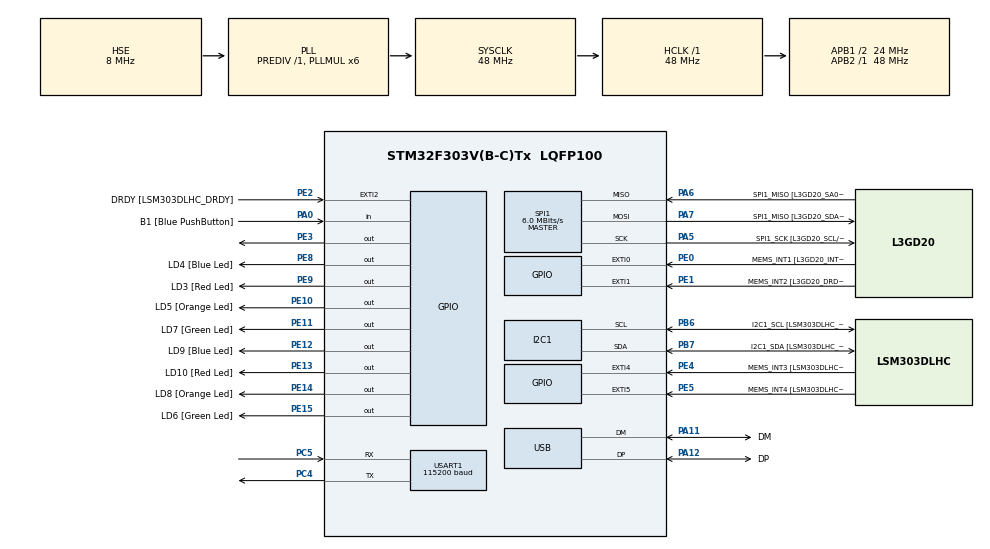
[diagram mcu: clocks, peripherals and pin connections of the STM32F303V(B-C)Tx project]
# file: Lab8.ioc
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I2C1.Timing=0x2000090E
I2C1.Timing-I2C=0x2000090E
Mcu.Family=STM32F3
Mcu.Name=STM32F303V(B-C)Tx
Mcu.Package=LQFP100
NVIC.PriorityGroup=NVIC_PRIORITYGROUP_0
NVIC.SPI1_IRQn=true\:0\:0\:false\:false\:true\:true\:true\:true
NVIC.USB_LP_CAN_RX0_IRQn=true\:0\:0\:false\:false\:true\:false\:true\:true
PA0.GPIO_Label=B1 [Blue PushButton]
PA0.Signal=GPIO_Input
PA11.GPIO_Label=DM
PA11.Mode=Device
PA11.Signal=USB_DM
PA12.GPIO_Label=DP
PA12.Mode=Device
PA12.Signal=USB_DP
PA13.GPIO_Label=SWDIO
PA13.Mode=Serial_Wire
PA13.Signal=SYS_JTMS-SWDIO
PA14.GPIO_Label=SWCLK
PA14.Mode=Serial_Wire
PA14.Signal=SYS_JTCK-SWCLK
PA5.GPIO_Label=SPI1_SCK [L3GD20_SCL/SPC]
PA5.Mode=Full_Duplex_Master
PA5.Signal=SPI1_SCK
PA6.GPIO_Label=SPI1_MISO [L3GD20_SA0/SDO]
PA6.Mode=Full_Duplex_Master
PA6.Signal=SPI1_MISO
PA7.GPIO_Label=SPI1_MISO [L3GD20_SDA/SDI/SDO]
PA7.Mode=Full_Duplex_Master
PA7.Signal=SPI1_MOSI
PB3.GPIO_Label=SWO
PB3.Signal=SYS_JTDO-TRACESWO
PB6.GPIO_Label=I2C1_SCL [LSM303DLHC_SCL]
PB6.GPIO_Pu=GPIO_PULLUP
PB6.Mode=I2C
PB6.Signal=I2C1_SCL
PB7.GPIO_Label=I2C1_SDA [LSM303DLHC_SDA]
PB7.GPIO_Pu=GPIO_PULLUP
PB7.Mode=I2C
PB7.Signal=I2C1_SDA
PC14-OSC32_IN.GPIO_Label=OSC32_IN
PC14-OSC32_IN.Signal=RCC_OSC32_IN
PC15-OSC32_OUT.GPIO_Label=OSC32_OUT
PC15-OSC32_OUT.Signal=RCC_OSC32_OUT
PC4.Mode=Asynchronous
PC4.Signal=USART1_TX
PC5.Mode=Asynchronous
PC5.Signal=USART1_RX
PE0.GPIO_Label=MEMS_INT1 [L3GD20_INT1]
PE0.GPIO_ModeDefaultEXTI=GPIO_MODE_EVT_RISING
PE0.Signal=GPXTI0
PE1.GPIO_Label=MEMS_INT2 [L3GD20_DRDY/INT2]
PE1.GPIO_ModeDefaultEXTI=GPIO_MODE_EVT_RISING
PE1.Signal=GPXTI1
PE10.GPIO_Label=LD5 [Orange Led]
PE10.Signal=GPIO_Output
PE11.GPIO_Label=LD7 [Green Led]
PE11.Signal=GPIO_Output
PE12.GPIO_Label=LD9 [Blue Led]
PE12.Signal=GPIO_Output
PE13.GPIO_Label=LD10 [Red Led]
PE13.Signal=GPIO_Output
PE14.GPIO_Label=LD8 [Orange Led]
PE14.Signal=GPIO_Output
PE15.GPIO_Label=LD6 [Green Led]
PE15.Signal=GPIO_Output
PE2.GPIO_Label=DRDY [LSM303DLHC_DRDY]
PE2.GPIO_ModeDefaultEXTI=GPIO_MODE_EVT_RISING
PE2.Signal=GPXTI2
PE3.Signal=GPIO_Output
PE4.GPIO_Label=MEMS_INT3 [LSM303DLHC_INT1]
PE4.GPIO_ModeDefaultEXTI=GPIO_MODE_EVT_RISING
PE4.Signal=GPXTI4
PE5.GPIO_Label=MEMS_INT4 [LSM303DLHC_INT2]
PE5.GPIO_ModeDefaultEXTI=GPIO_MODE_EVT_RISING
PE5.Signal=GPXTI5
PE8.GPIO_Label=LD4 [Blue Led]
PE8.Signal=GPIO_Output
PE9.GPIO_Label=LD3 [Red Led]
PE9.Signal=GPIO_Output
PF0-OSC_IN.GPIO_Label=OSC_IN
PF0-OSC_IN.Mode=HSE-External-Clock-Source
PF0-OSC_IN.Signal=RCC_OSC_IN
PF1-OSC_OUT.GPIO_Label=OSC_OUT
PF1-OSC_OUT.Signal=RCC_OSC_OUT
ProjectManager.HeapSize=0x200
ProjectManager.StackSize=0x400
ProjectManager.TargetToolchain=CMake
RCC.AHBFreq_Value=48000000
RCC.APB1CLKDivider=RCC_HCLK_DIV2
RCC.APB1Freq_Value=24000000
RCC.APB1TimFreq_Value=48000000
RCC.APB2Freq_Value=48000000
RCC.APB2TimFreq_Value=48000000
RCC.CortexFreq_Value=48000000
RCC.HCLKFreq_Value=48000000
RCC.HSE_VALUE=8000000
RCC.HSI_VALUE=8000000
RCC.LSE_VALUE=32768
RCC.PLLMUL=RCC_PLL_MUL6
RCC.SYSCLKFreq_VALUE=48000000
RCC.SYSCLKSourceVirtual=RCC_SYSCLKSOURCE_PLLCLK
RCC.USBFreq_Value=48000000
SPI1.BaudRatePrescaler=SPI_BAUDRATEPRESCALER_8
SPI1.BaudRatePrescaler-Full_Duplex_Master=SPI_BAUDRATEPRESCALER_2
SPI1.CLKPhase=SPI_PHASE_2EDGE
SPI1.CLKPolarity=SPI_POLARITY_HIGH
SPI1.CalculateBaudRate=6.0 MBits/s
SPI1.CalculateBaudRate-Full_Duplex_Master=24.0 MBits/s
SPI1.DataSize=SPI_DATASIZE_8BIT
SPI1.Direction=SPI_DIRECTION_2LINES
SPI1.Mode=SPI_MODE_MASTER
SPI1.Mode-Full_Duplex_Master=SPI_MODE_MASTER
SPI1.VirtualType=VM_MASTER
USART1.BaudRate=115200
USART1.VirtualMode-Asynchronous=VM_ASYNC
USB_DEVICE.CLASS_NAME_FS=CDC
USB_DEVICE.VirtualMode=Cdc
USB_DEVICE.VirtualModeFS=Cdc_FS
VP_USB_DEVICE_VS_USB_DEVICE_CDC_FS.Mode=CDC_FS
board=STM32F3DISCOVERY

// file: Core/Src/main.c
/* USER CODE BEGIN Header */
/**
  ******************************************************************************
  * @file           : main.c
  * @brief          : Main program body
  ******************************************************************************
  * @attention
  *
  * Copyright (c) 2026 STMicroelectronics.
  * All rights reserved.
  *
  * This software is licensed under terms that can be found in the LICENSE file
  * in the root directory of this software component.
  * If no LICENSE file comes with this software, it is provided AS-IS.
  *
  ******************************************************************************
  */
/* USER CODE END Header */
#include "main.h"
#include "usb_device.h"

/* USER CODE BEGIN Includes */
#include <stdio.h>
#include <stdint.h>
/* USER CODE END Includes */

/* USER CODE BEGIN PD */
#define WHO_AM_I_REG 0x0F

/* USER CODE END PD */

I2C_HandleTypeDef hi2c1;

SPI_HandleTypeDef hspi1;

UART_HandleTypeDef huart1;

void SystemClock_Config(void);
static void MX_GPIO_Init(void);
static void MX_I2C1_Init(void);
static void MX_SPI1_Init(void);
static void MX_USART1_UART_Init(void);

/* USER CODE BEGIN 0 */
// Task 3
uint8_t tx_buf[7];
uint8_t rx_buf[7];

int16_t x_raw, y_raw, z_raw;
float x_dps, y_dps, z_dps;
int8_t temperature;

volatile uint8_t spi_ready = 1;

#define CTRL_REG1 0x20
#define CTRL_REG1_VAL 0x0F

void gyro_init()
{
    uint8_t data[2] = {CTRL_REG1, CTRL_REG1_VAL};

    HAL_GPIO_WritePin(GPIOE, GPIO_PIN_3, GPIO_PIN_RESET);
    HAL_SPI_Transmit(&hspi1, data, 2, HAL_MAX_DELAY);
    HAL_GPIO_WritePin(GPIOE, GPIO_PIN_3, GPIO_PIN_SET);
}

/* USER CODE END 0 */

int main(void)
{

  /* MCU Configuration--------------------------------------------------------*/

  /* Reset of all peripherals, Initializes the Flash interface and the Systick. */
  HAL_Init();

  /* Configure the system clock */
  SystemClock_Config();

  /* Initialize all configured peripherals */
  MX_GPIO_Init();
  MX_I2C1_Init();
  MX_SPI1_Init();
  MX_USB_DEVICE_Init();
  MX_USART1_UART_Init();
  /* USER CODE BEGIN 2 */
  // Task 2
  gyro_init();
  /* USER CODE END 2 */

  /* Infinite loop */
  /* USER CODE BEGIN WHILE */
  while (1)
{
    if (spi_ready)
    {
        spi_ready = 0;

        // Read temperature first (polling)
        uint8_t temp_cmd = 0x80 | 0x26;
        uint8_t temp_rx;

        HAL_GPIO_WritePin(GPIOE, GPIO_PIN_3, GPIO_PIN_RESET);
        HAL_SPI_Transmit(&hspi1, &temp_cmd, 1, HAL_MAX_DELAY);
        HAL_SPI_Receive(&hspi1, &temp_rx, 1, HAL_MAX_DELAY);
        HAL_GPIO_WritePin(GPIOE, GPIO_PIN_3, GPIO_PIN_SET);

        temperature = (int8_t)temp_rx;

        // Now read gyro (interrupt)
        tx_buf[0] = 0xC0 | 0x28;

        HAL_GPIO_WritePin(GPIOE, GPIO_PIN_3, GPIO_PIN_RESET);
        HAL_SPI_TransmitReceive_IT(&hspi1, tx_buf, rx_buf, 7);
    }
}

  /* USER CODE END 3 */
}

void SystemClock_Config(void)
{
  RCC_OscInitTypeDef RCC_OscInitStruct = {0};
  RCC_ClkInitTypeDef RCC_ClkInitStruct = {0};
  RCC_PeriphCLKInitTypeDef PeriphClkInit = {0};

  /** Initializes the RCC Oscillators according to the specified parameters
  * in the RCC_OscInitTypeDef structure.
  */
  RCC_OscInitStruct.OscillatorType = RCC_OSCILLATORTYPE_HSI|RCC_OSCILLATORTYPE_HSE;
  RCC_OscInitStruct.HSEState = RCC_HSE_BYPASS;
  RCC_OscInitStruct.HSEPredivValue = RCC_HSE_PREDIV_DIV1;
  RCC_OscInitStruct.HSIState = RCC_HSI_ON;
  RCC_OscInitStruct.HSICalibrationValue = RCC_HSICALIBRATION_DEFAULT;
  RCC_OscInitStruct.PLL.PLLState = RCC_PLL_ON;
  RCC_OscInitStruct.PLL.PLLSource = RCC_PLLSOURCE_HSE;
  RCC_OscInitStruct.PLL.PLLMUL = RCC_PLL_MUL6;
  if (HAL_RCC_OscConfig(&RCC_OscInitStruct) != HAL_OK)
  {
    Error_Handler();
  }

  /** Initializes the CPU, AHB and APB buses clocks
  */
  RCC_ClkInitStruct.ClockType = RCC_CLOCKTYPE_HCLK|RCC_CLOCKTYPE_SYSCLK
                              |RCC_CLOCKTYPE_PCLK1|RCC_CLOCKTYPE_PCLK2;
  RCC_ClkInitStruct.SYSCLKSource = RCC_SYSCLKSOURCE_PLLCLK;
  RCC_ClkInitStruct.AHBCLKDivider = RCC_SYSCLK_DIV1;
  RCC_ClkInitStruct.APB1CLKDivider = RCC_HCLK_DIV2;
  RCC_ClkInitStruct.APB2CLKDivider = RCC_HCLK_DIV1;

  if (HAL_RCC_ClockConfig(&RCC_ClkInitStruct, FLASH_LATENCY_1) != HAL_OK)
  {
    Error_Handler();
  }
  PeriphClkInit.PeriphClockSelection = RCC_PERIPHCLK_USB|RCC_PERIPHCLK_USART1
                              |RCC_PERIPHCLK_I2C1;
  PeriphClkInit.Usart1ClockSelection = RCC_USART1CLKSOURCE_PCLK2;
  PeriphClkInit.I2c1ClockSelection = RCC_I2C1CLKSOURCE_HSI;
  PeriphClkInit.USBClockSelection = RCC_USBCLKSOURCE_PLL;
  if (HAL_RCCEx_PeriphCLKConfig(&PeriphClkInit) != HAL_OK)
  {
    Error_Handler();
  }
}

static void MX_I2C1_Init(void)
{

  hi2c1.Instance = I2C1;
  hi2c1.Init.Timing = 0x2000090E;
  hi2c1.Init.OwnAddress1 = 0;
  hi2c1.Init.AddressingMode = I2C_ADDRESSINGMODE_7BIT;
  hi2c1.Init.DualAddressMode = I2C_DUALADDRESS_DISABLE;
  hi2c1.Init.OwnAddress2 = 0;
  hi2c1.Init.OwnAddress2Masks = I2C_OA2_NOMASK;
  hi2c1.Init.GeneralCallMode = I2C_GENERALCALL_DISABLE;
  hi2c1.Init.NoStretchMode = I2C_NOSTRETCH_DISABLE;
  if (HAL_I2C_Init(&hi2c1) != HAL_OK)
  {
    Error_Handler();
  }

  /** Configure Analogue filter
  */
  if (HAL_I2CEx_ConfigAnalogFilter(&hi2c1, I2C_ANALOGFILTER_ENABLE) != HAL_OK)
  {
    Error_Handler();
  }

  /** Configure Digital filter
  */
  if (HAL_I2CEx_ConfigDigitalFilter(&hi2c1, 0) != HAL_OK)
  {
    Error_Handler();
  }

}

static void MX_SPI1_Init(void)
{

  /* SPI1 parameter configuration*/
  hspi1.Instance = SPI1;
  hspi1.Init.Mode = SPI_MODE_MASTER;
  hspi1.Init.Direction = SPI_DIRECTION_2LINES;
  hspi1.Init.DataSize = SPI_DATASIZE_8BIT;
  hspi1.Init.CLKPolarity = SPI_POLARITY_HIGH;
  hspi1.Init.CLKPhase = SPI_PHASE_2EDGE;
  hspi1.Init.NSS = SPI_NSS_SOFT;
  hspi1.Init.BaudRatePrescaler = SPI_BAUDRATEPRESCALER_8;
  hspi1.Init.FirstBit = SPI_FIRSTBIT_MSB;
  hspi1.Init.TIMode = SPI_TIMODE_DISABLE;
  hspi1.Init.CRCCalculation = SPI_CRCCALCULATION_DISABLE;
  hspi1.Init.CRCPolynomial = 7;
  hspi1.Init.CRCLength = SPI_CRC_LENGTH_DATASIZE;
  hspi1.Init.NSSPMode = SPI_NSS_PULSE_DISABLE;
  if (HAL_SPI_Init(&hspi1) != HAL_OK)
  {
    Error_Handler();
  }

}

static void MX_USART1_UART_Init(void)
{

  huart1.Instance = USART1;
  huart1.Init.BaudRate = 115200;
  huart1.Init.WordLength = UART_WORDLENGTH_8B;
  huart1.Init.StopBits = UART_STOPBITS_1;
  huart1.Init.Parity = UART_PARITY_NONE;
  huart1.Init.Mode = UART_MODE_TX_RX;
  huart1.Init.HwFlowCtl = UART_HWCONTROL_NONE;
  huart1.Init.OverSampling = UART_OVERSAMPLING_16;
  huart1.Init.OneBitSampling = UART_ONE_BIT_SAMPLE_DISABLE;
  huart1.AdvancedInit.AdvFeatureInit = UART_ADVFEATURE_NO_INIT;
  if (HAL_UART_Init(&huart1) != HAL_OK)
  {
    Error_Handler();
  }

}

static void MX_GPIO_Init(void)
{
  GPIO_InitTypeDef GPIO_InitStruct = {0};

  /* GPIO Ports Clock Enable */
  __HAL_RCC_GPIOE_CLK_ENABLE();
  __HAL_RCC_GPIOC_CLK_ENABLE();
  __HAL_RCC_GPIOF_CLK_ENABLE();
  __HAL_RCC_GPIOA_CLK_ENABLE();
  __HAL_RCC_GPIOB_CLK_ENABLE();

  /*Configure GPIO pin Output Level */
  HAL_GPIO_WritePin(GPIOE, GPIO_PIN_3|LD4_Pin|LD3_Pin|LD5_Pin
                          |LD7_Pin|LD9_Pin|LD10_Pin|LD8_Pin
                          |LD6_Pin, GPIO_PIN_RESET);

  /*Configure GPIO pins : DRDY_Pin MEMS_INT3_Pin MEMS_INT4_Pin MEMS_INT1_Pin
                           MEMS_INT2_Pin */
  GPIO_InitStruct.Pin = DRDY_Pin|MEMS_INT3_Pin|MEMS_INT4_Pin|MEMS_INT1_Pin
                          |MEMS_INT2_Pin;
  GPIO_InitStruct.Mode = GPIO_MODE_EVT_RISING;
  GPIO_InitStruct.Pull = GPIO_NOPULL;
  HAL_GPIO_Init(GPIOE, &GPIO_InitStruct);

  /*Configure GPIO pins : PE3 LD4_Pin LD3_Pin LD5_Pin
                           LD7_Pin LD9_Pin LD10_Pin LD8_Pin
                           LD6_Pin */
  GPIO_InitStruct.Pin = GPIO_PIN_3|LD4_Pin|LD3_Pin|LD5_Pin
                          |LD7_Pin|LD9_Pin|LD10_Pin|LD8_Pin
                          |LD6_Pin;
  GPIO_InitStruct.Mode = GPIO_MODE_OUTPUT_PP;
  GPIO_InitStruct.Pull = GPIO_NOPULL;
  GPIO_InitStruct.Speed = GPIO_SPEED_FREQ_LOW;
  HAL_GPIO_Init(GPIOE, &GPIO_InitStruct);

  /*Configure GPIO pin : B1_Pin */
  GPIO_InitStruct.Pin = B1_Pin;
  GPIO_InitStruct.Mode = GPIO_MODE_INPUT;
  GPIO_InitStruct.Pull = GPIO_NOPULL;
  HAL_GPIO_Init(B1_GPIO_Port, &GPIO_InitStruct);

}

/* USER CODE BEGIN 4 */
void HAL_SPI_TxRxCpltCallback(SPI_HandleTypeDef *hspi)
{
    if (hspi->Instance == SPI1)
    {
        HAL_GPIO_WritePin(GPIOE, GPIO_PIN_3, GPIO_PIN_SET);

        // Skip rx_buf[0]
        x_raw = (int16_t)((rx_buf[2] << 8) | rx_buf[1]);
        y_raw = (int16_t)((rx_buf[4] << 8) | rx_buf[3]);
        z_raw = (int16_t)((rx_buf[6] << 8) | rx_buf[5]);

        x_dps = x_raw * 0.00875f;
        y_dps = y_raw * 0.00875f;
        z_dps = z_raw * 0.00875f;

        char msg[100];
        sprintf(msg, "%d, %d, %d, %d\r\n",
                temperature,
                x_raw,
                y_raw,
                z_raw);

        HAL_UART_Transmit(&huart1,
                          (uint8_t*)msg,
                          strlen(msg),
                          HAL_MAX_DELAY);

        spi_ready = 1;
    }
}

/* USER CODE END 4 */

void Error_Handler(void)
{
  __disable_irq();
  while (1)
  {
  }
}
